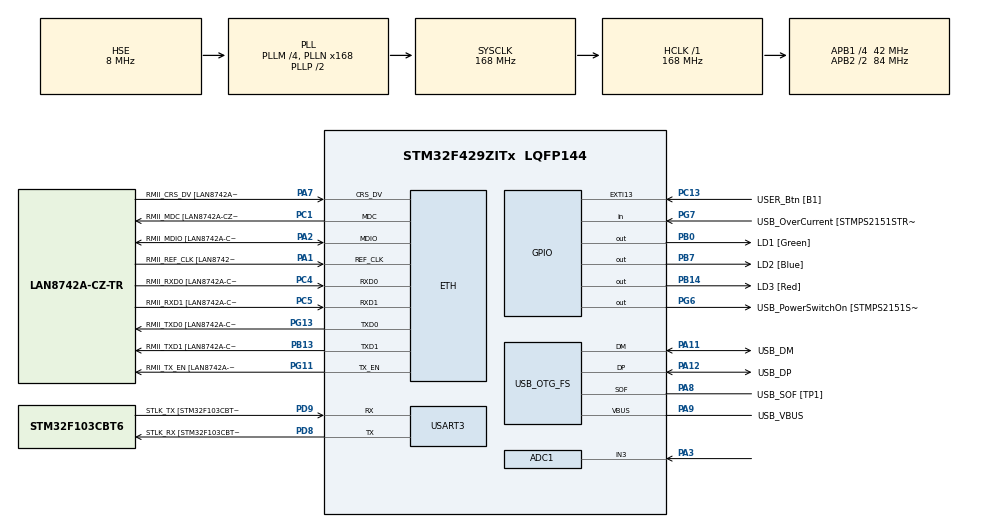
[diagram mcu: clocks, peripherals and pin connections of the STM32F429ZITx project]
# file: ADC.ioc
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ADC1.Channel-1\#ChannelRegularConversion=ADC_CHANNEL_3
ADC1.InjNumberOfConversion=0
ADC1.NbrOfConversion=1
ADC1.NbrOfConversionFlag=1
ADC1.Rank-1\#ChannelRegularConversion=1
ADC1.Resolution=ADC_RESOLUTION_8B
ADC1.SamplingTime-1\#ChannelRegularConversion=ADC_SAMPLETIME_3CYCLES
ADC1.master=1
ETH.MediaInterface=HAL_ETH_RMII_MODE
ETH.PHY_Name=LAN8742A_PHY_ADDRESS
ETH.PHY_Value=0
ETH.PhyAddress=0
Mcu.Family=STM32F4
Mcu.Name=STM32F429ZITx
Mcu.Package=LQFP144
NVIC.ADC_IRQn=true\:0\:0\:false\:false\:true\:true\:true\:true
NVIC.PriorityGroup=NVIC_PRIORITYGROUP_4
NVIC.USART3_IRQn=true\:0\:0\:false\:false\:true\:true\:true\:true
PA1.GPIO_Label=RMII_REF_CLK [LAN8742A-CZ-TR_REFCLK0]
PA1.Mode=RMII
PA1.Signal=ETH_REF_CLK
PA10.GPIO_Label=USB_ID
PA10.Signal=USB_OTG_FS_ID
PA11.GPIO_Label=USB_DM
PA11.Mode=Device_Only
PA11.Signal=USB_OTG_FS_DM
PA12.GPIO_Label=USB_DP
PA12.Mode=Device_Only
PA12.Signal=USB_OTG_FS_DP
PA13.GPIO_Label=TMS
PA13.Mode=Serial_Wire
PA13.Signal=SYS_JTMS-SWDIO
PA14.GPIO_Label=TCK
PA14.Mode=Serial_Wire
PA14.Signal=SYS_JTCK-SWCLK
PA2.GPIO_Label=RMII_MDIO [LAN8742A-CZ-TR_MDIO]
PA2.Mode=RMII
PA2.Signal=ETH_MDIO
PA3.Signal=ADCx_IN3
PA7.GPIO_Label=RMII_CRS_DV [LAN8742A-CZ-TR_CRS_DV]
PA7.Mode=RMII
PA7.Signal=ETH_CRS_DV
PA8.GPIO_Label=USB_SOF [TP1]
PA8.Mode=Activate_SOF_FS
PA8.Signal=USB_OTG_FS_SOF
PA9.GPIO_Label=USB_VBUS
PA9.Mode=Activate_VBUS
PA9.Signal=USB_OTG_FS_VBUS
PB0.GPIO_Label=LD1 [Green]
PB0.Signal=GPIO_Output
PB13.GPIO_Label=RMII_TXD1 [LAN8742A-CZ-TR_TXD1]
PB13.Mode=RMII
PB13.Signal=ETH_TXD1
PB14.GPIO_Label=LD3 [Red]
PB14.Signal=GPIO_Output
PB7.GPIO_Label=LD2 [Blue]
PB7.Signal=GPIO_Output
PC1.GPIO_Label=RMII_MDC [LAN8742A-CZ-TR_MDC]
PC1.Mode=RMII
PC1.Signal=ETH_MDC
PC13.GPIO_Label=USER_Btn [B1]
PC13.Signal=GPXTI13
PC14/OSC32_IN.Mode=LSE-External-Oscillator
PC14/OSC32_IN.Signal=RCC_OSC32_IN
PC15/OSC32_OUT.Mode=LSE-External-Oscillator
PC15/OSC32_OUT.Signal=RCC_OSC32_OUT
PC4.GPIO_Label=RMII_RXD0 [LAN8742A-CZ-TR_RXD0]
PC4.Mode=RMII
PC4.Signal=ETH_RXD0
PC5.GPIO_Label=RMII_RXD1 [LAN8742A-CZ-TR_RXD1]
PC5.Mode=RMII
PC5.Signal=ETH_RXD1
PD8.GPIO_Label=STLK_RX [STM32F103CBT6_PA3]
PD8.Mode=Asynchronous
PD8.Signal=USART3_TX
PD9.GPIO_Label=STLK_TX [STM32F103CBT6_PA2]
PD9.Mode=Asynchronous
PD9.Signal=USART3_RX
PG11.GPIO_Label=RMII_TX_EN [LAN8742A-CZ-TR_TXEN]
PG11.Mode=RMII
PG11.Signal=ETH_TX_EN
PG13.GPIO_Label=RMII_TXD0 [LAN8742A-CZ-TR_TXD0]
PG13.Mode=RMII
PG13.Signal=ETH_TXD0
PG6.GPIO_Label=USB_PowerSwitchOn [STMPS2151STR_EN]
PG6.Signal=GPIO_Output
PG7.GPIO_Label=USB_OverCurrent [STMPS2151STR_FAULT]
PG7.Signal=GPIO_Input
PH0/OSC_IN.GPIO_Label=MCO [STM32F103CBT6_PA8]
PH0/OSC_IN.Mode=HSE-External-Clock-Source
PH0/OSC_IN.Signal=RCC_OSC_IN
PH1/OSC_OUT.Mode=HSE-External-Clock-Source
PH1/OSC_OUT.Signal=RCC_OSC_OUT
ProjectManager.HeapSize=0x200
ProjectManager.StackSize=0x400
ProjectManager.TargetToolchain=STM32CubeIDE
RCC.48MHZClocksFreq_Value=48000000
RCC.AHBFreq_Value=168000000
RCC.APB1CLKDivider=RCC_HCLK_DIV4
RCC.APB1Freq_Value=42000000
RCC.APB1TimFreq_Value=84000000
RCC.APB2CLKDivider=RCC_HCLK_DIV2
RCC.APB2Freq_Value=84000000
RCC.APB2TimCLKDivider=2
RCC.APB2TimFreq_Value=168000000
RCC.CortexFreq_Value=168000000
RCC.HCLKFreq_Value=168000000
RCC.HSE_VALUE=8000000
RCC.HSI_VALUE=16000000
RCC.PLLM=4
RCC.PLLMUL=RCC_PLL_MUL9
RCC.PLLN=168
RCC.PLLQ=7
RCC.PRESCALERUSB=RCC_USBCLKSOURCE_PLL_DIV1_5
RCC.SYSCLKFreq_VALUE=168000000
RCC.SYSCLKSource=RCC_SYSCLKSOURCE_PLLCLK
RCC.SYSCLKSourceVirtual=RCC_SYSCLKSOURCE_PLLCLK
RCC.USBFreq_Value=48000000
RCC.VCOOutputFreq_Value=336000000
SH.ADCx_IN3.0=ADC1_IN3,IN3
USART3.VirtualMode=VM_ASYNC
USB_OTG_FS.VirtualMode=Device_Only
board=NUCLEO-F429ZI

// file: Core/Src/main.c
/* USER CODE BEGIN Header */
/**
  ******************************************************************************
  * @file           : main.c
  * @brief          : Main program body
  ******************************************************************************
  * @attention
  *
  * Copyright (c) 2023 STMicroelectronics.
  * All rights reserved.
  *
  * This software is licensed under terms that can be found in the LICENSE file
  * in the root directory of this software component.
  * If no LICENSE file comes with this software, it is provided AS-IS.
  *
  ******************************************************************************
  */
#include "stdio.h"
/* USER CODE END Header */
#include "main.h"
#include "string.h"

ETH_TxPacketConfig TxConfig;
ETH_DMADescTypeDef  DMARxDscrTab[ETH_RX_DESC_CNT]; /* Ethernet Rx DMA Descriptors */
ETH_DMADescTypeDef  DMATxDscrTab[ETH_TX_DESC_CNT]; /* Ethernet Tx DMA Descriptors */

ADC_HandleTypeDef hadc1;

ETH_HandleTypeDef heth;

UART_HandleTypeDef huart3;

PCD_HandleTypeDef hpcd_USB_OTG_FS;

void SystemClock_Config(void);
static void MX_GPIO_Init(void);
static void MX_ETH_Init(void);
static void MX_USART3_UART_Init(void);
static void MX_USB_OTG_FS_PCD_Init(void);
static void MX_ADC1_Init(void);
void HAL_ADC_ConveCpltCallback(ADC_HandleTypeDef *hadc);

/* USER CODE BEGIN 0 */
	int adc_value = 0;
	char uart_buf[100] = {0};
	char current_level = 1;
/* USER CODE END 0 */

int main(void)
{

  /* MCU Configuration--------------------------------------------------------*/

  /* Reset of all peripherals, Initializes the Flash interface and the Systick. */
  HAL_Init();

  /* Configure the system clock */
  SystemClock_Config();

  /* Initialize all configured peripherals */
  MX_GPIO_Init();
  MX_ETH_Init();
  MX_USART3_UART_Init();
  MX_USB_OTG_FS_PCD_Init();
  MX_ADC1_Init();
  /* USER CODE BEGIN 2 */
  HAL_ADC_Start_IT(&hadc1);
  /* USER CODE END 2 */

  /* Infinite loop */
	while (1) {

		/* USER CODE BEGIN 3 */

		HAL_ADC_Start(&hadc1);
		HAL_ADC_PollForConversion(&hadc1, 50);
		adc_value = HAL_ADC_GetValue(&hadc1);
		HAL_ADC_Stop(&hadc1);
//
//		//adc_vaule 값에 ?��?�� current_level�? ?��?��
//		if (adc_value > 0)
//			current_level = 1;
//		if (adc_value > 85)
//			current_level = 2;
//		if (adc_value > 170)
//			current_level = 3;

//current_level 값에 ?��?�� led on/off ?��?��
//		if (current_level == 1) {
		HAL_GPIO_WritePin(GPIOB, LD1_Pin, 1);
		HAL_GPIO_WritePin(GPIOB, LD2_Pin, 1);
		HAL_GPIO_WritePin(GPIOB, LD3_Pin, 1);
		HAL_Delay(adc_value);
		HAL_GPIO_WritePin(GPIOB, LD1_Pin, 0);
		HAL_GPIO_WritePin(GPIOB, LD2_Pin, 0);
		HAL_GPIO_WritePin(GPIOB, LD3_Pin, 0);
		HAL_Delay(adc_value);
//		}
//		if (current_level == 2) {
//			HAL_GPIO_WritePin(GPIOB, LD1_Pin, 1);
//			HAL_GPIO_WritePin(GPIOB, LD2_Pin, 1);
//			HAL_GPIO_WritePin(GPIOB, LD3_Pin, 0);
//		}
//		if (current_level == 3) {
//			HAL_GPIO_WritePin(GPIOB, LD1_Pin, 1);
//			HAL_GPIO_WritePin(GPIOB, LD2_Pin, 1);
//			HAL_GPIO_WritePin(GPIOB, LD3_Pin, 1);
//		}

		memset(uart_buf, 0, sizeof(uart_buf));
		sprintf(uart_buf, "Current level : %d, VR Value : %d\r\n",current_level, adc_value);

		HAL_UART_Transmit(&huart3, (uint8_t*) uart_buf, sizeof(uart_buf), 100);
		HAL_Delay(100);
//	}

  /* USER CODE END 3 */
}
}

void HAL_ADC_ConveCpltCallback(ADC_HandleTypeDef *hadc) {
	if (hadc->Instance == ADC1) {
		memset(uart_buf, 0, sizeof(uart_buf));
		adc_value = HAL_ADC_GetValue(&hadc1);
		sprintf(uart_buf, "ADC Value : %d \r\n", adc_value);
		HAL_UART_Transmit(&huart3, (uint8_t*) uart_buf, sizeof(uart_buf), 1000);
		HAL_ADC_Start_IT(&hadc1);
	}
}

void SystemClock_Config(void)
{
  RCC_OscInitTypeDef RCC_OscInitStruct = {0};
  RCC_ClkInitTypeDef RCC_ClkInitStruct = {0};

  /** Configure the main internal regulator output voltage
  */
  __HAL_RCC_PWR_CLK_ENABLE();
  __HAL_PWR_VOLTAGESCALING_CONFIG(PWR_REGULATOR_VOLTAGE_SCALE1);

  /** Initializes the RCC Oscillators according to the specified parameters
  * in the RCC_OscInitTypeDef structure.
  */
  RCC_OscInitStruct.OscillatorType = RCC_OSCILLATORTYPE_HSE;
  RCC_OscInitStruct.HSEState = RCC_HSE_BYPASS;
  RCC_OscInitStruct.PLL.PLLState = RCC_PLL_ON;
  RCC_OscInitStruct.PLL.PLLSource = RCC_PLLSOURCE_HSE;
  RCC_OscInitStruct.PLL.PLLM = 4;
  RCC_OscInitStruct.PLL.PLLN = 168;
  RCC_OscInitStruct.PLL.PLLP = RCC_PLLP_DIV2;
  RCC_OscInitStruct.PLL.PLLQ = 7;
  if (HAL_RCC_OscConfig(&RCC_OscInitStruct) != HAL_OK)
  {
    Error_Handler();
  }

  /** Initializes the CPU, AHB and APB buses clocks
  */
  RCC_ClkInitStruct.ClockType = RCC_CLOCKTYPE_HCLK|RCC_CLOCKTYPE_SYSCLK
                              |RCC_CLOCKTYPE_PCLK1|RCC_CLOCKTYPE_PCLK2;
  RCC_ClkInitStruct.SYSCLKSource = RCC_SYSCLKSOURCE_PLLCLK;
  RCC_ClkInitStruct.AHBCLKDivider = RCC_SYSCLK_DIV1;
  RCC_ClkInitStruct.APB1CLKDivider = RCC_HCLK_DIV4;
  RCC_ClkInitStruct.APB2CLKDivider = RCC_HCLK_DIV2;

  if (HAL_RCC_ClockConfig(&RCC_ClkInitStruct, FLASH_LATENCY_5) != HAL_OK)
  {
    Error_Handler();
  }
}

static void MX_ADC1_Init(void)
{

  ADC_ChannelConfTypeDef sConfig = {0};

  /** Configure the global features of the ADC (Clock, Resolution, Data Alignment and number of conversion)
  */
  hadc1.Instance = ADC1;
  hadc1.Init.ClockPrescaler = ADC_CLOCK_SYNC_PCLK_DIV4;
  hadc1.Init.Resolution = ADC_RESOLUTION_8B;
  hadc1.Init.ScanConvMode = DISABLE;
  hadc1.Init.ContinuousConvMode = DISABLE;
  hadc1.Init.DiscontinuousConvMode = DISABLE;
  hadc1.Init.ExternalTrigConvEdge = ADC_EXTERNALTRIGCONVEDGE_NONE;
  hadc1.Init.ExternalTrigConv = ADC_SOFTWARE_START;
  hadc1.Init.DataAlign = ADC_DATAALIGN_RIGHT;
  hadc1.Init.NbrOfConversion = 1;
  hadc1.Init.DMAContinuousRequests = DISABLE;
  hadc1.Init.EOCSelection = ADC_EOC_SINGLE_CONV;
  if (HAL_ADC_Init(&hadc1) != HAL_OK)
  {
    Error_Handler();
  }

  /** Configure for the selected ADC regular channel its corresponding rank in the sequencer and its sample time.
  */
  sConfig.Channel = ADC_CHANNEL_3;
  sConfig.Rank = 1;
  sConfig.SamplingTime = ADC_SAMPLETIME_3CYCLES;
  if (HAL_ADC_ConfigChannel(&hadc1, &sConfig) != HAL_OK)
  {
    Error_Handler();
  }

}

static void MX_ETH_Init(void)
{

   static uint8_t MACAddr[6];

  heth.Instance = ETH;
  MACAddr[0] = 0x00;
  MACAddr[1] = 0x80;
  MACAddr[2] = 0xE1;
  MACAddr[3] = 0x00;
  MACAddr[4] = 0x00;
  MACAddr[5] = 0x00;
  heth.Init.MACAddr = &MACAddr[0];
  heth.Init.MediaInterface = HAL_ETH_RMII_MODE;
  heth.Init.TxDesc = DMATxDscrTab;
  heth.Init.RxDesc = DMARxDscrTab;
  heth.Init.RxBuffLen = 1524;

  if (HAL_ETH_Init(&heth) != HAL_OK)
  {
    Error_Handler();
  }

  memset(&TxConfig, 0 , sizeof(ETH_TxPacketConfig));
  TxConfig.Attributes = ETH_TX_PACKETS_FEATURES_CSUM | ETH_TX_PACKETS_FEATURES_CRCPAD;
  TxConfig.ChecksumCtrl = ETH_CHECKSUM_IPHDR_PAYLOAD_INSERT_PHDR_CALC;
  TxConfig.CRCPadCtrl = ETH_CRC_PAD_INSERT;

}

static void MX_USART3_UART_Init(void)
{

  huart3.Instance = USART3;
  huart3.Init.BaudRate = 115200;
  huart3.Init.WordLength = UART_WORDLENGTH_8B;
  huart3.Init.StopBits = UART_STOPBITS_1;
  huart3.Init.Parity = UART_PARITY_NONE;
  huart3.Init.Mode = UART_MODE_TX_RX;
  huart3.Init.HwFlowCtl = UART_HWCONTROL_NONE;
  huart3.Init.OverSampling = UART_OVERSAMPLING_16;
  if (HAL_UART_Init(&huart3) != HAL_OK)
  {
    Error_Handler();
  }

}

static void MX_USB_OTG_FS_PCD_Init(void)
{

  hpcd_USB_OTG_FS.Instance = USB_OTG_FS;
  hpcd_USB_OTG_FS.Init.dev_endpoints = 4;
  hpcd_USB_OTG_FS.Init.speed = PCD_SPEED_FULL;
  hpcd_USB_OTG_FS.Init.dma_enable = DISABLE;
  hpcd_USB_OTG_FS.Init.phy_itface = PCD_PHY_EMBEDDED;
  hpcd_USB_OTG_FS.Init.Sof_enable = ENABLE;
  hpcd_USB_OTG_FS.Init.low_power_enable = DISABLE;
  hpcd_USB_OTG_FS.Init.lpm_enable = DISABLE;
  hpcd_USB_OTG_FS.Init.vbus_sensing_enable = ENABLE;
  hpcd_USB_OTG_FS.Init.use_dedicated_ep1 = DISABLE;
  if (HAL_PCD_Init(&hpcd_USB_OTG_FS) != HAL_OK)
  {
    Error_Handler();
  }

}

static void MX_GPIO_Init(void)
{
  GPIO_InitTypeDef GPIO_InitStruct = {0};

  /* GPIO Ports Clock Enable */
  __HAL_RCC_GPIOC_CLK_ENABLE();
  __HAL_RCC_GPIOH_CLK_ENABLE();
  __HAL_RCC_GPIOA_CLK_ENABLE();
  __HAL_RCC_GPIOB_CLK_ENABLE();
  __HAL_RCC_GPIOD_CLK_ENABLE();
  __HAL_RCC_GPIOG_CLK_ENABLE();

  /*Configure GPIO pin Output Level */
  HAL_GPIO_WritePin(GPIOB, LD1_Pin|LD3_Pin|LD2_Pin, GPIO_PIN_RESET);

  /*Configure GPIO pin Output Level */
  HAL_GPIO_WritePin(USB_PowerSwitchOn_GPIO_Port, USB_PowerSwitchOn_Pin, GPIO_PIN_RESET);

  /*Configure GPIO pin : USER_Btn_Pin */
  GPIO_InitStruct.Pin = USER_Btn_Pin;
  GPIO_InitStruct.Mode = GPIO_MODE_IT_RISING;
  GPIO_InitStruct.Pull = GPIO_NOPULL;
  HAL_GPIO_Init(USER_Btn_GPIO_Port, &GPIO_InitStruct);

  /*Configure GPIO pins : LD1_Pin LD3_Pin LD2_Pin */
  GPIO_InitStruct.Pin = LD1_Pin|LD3_Pin|LD2_Pin;
  GPIO_InitStruct.Mode = GPIO_MODE_OUTPUT_PP;
  GPIO_InitStruct.Pull = GPIO_NOPULL;
  GPIO_InitStruct.Speed = GPIO_SPEED_FREQ_LOW;
  HAL_GPIO_Init(GPIOB, &GPIO_InitStruct);

  /*Configure GPIO pin : USB_PowerSwitchOn_Pin */
  GPIO_InitStruct.Pin = USB_PowerSwitchOn_Pin;
  GPIO_InitStruct.Mode = GPIO_MODE_OUTPUT_PP;
  GPIO_InitStruct.Pull = GPIO_NOPULL;
  GPIO_InitStruct.Speed = GPIO_SPEED_FREQ_LOW;
  HAL_GPIO_Init(USB_PowerSwitchOn_GPIO_Port, &GPIO_InitStruct);

  /*Configure GPIO pin : USB_OverCurrent_Pin */
  GPIO_InitStruct.Pin = USB_OverCurrent_Pin;
  GPIO_InitStruct.Mode = GPIO_MODE_INPUT;
  GPIO_InitStruct.Pull = GPIO_NOPULL;
  HAL_GPIO_Init(USB_OverCurrent_GPIO_Port, &GPIO_InitStruct);

}

void Error_Handler(void)
{
  __disable_irq();
  while (1)
  {
  }
}
